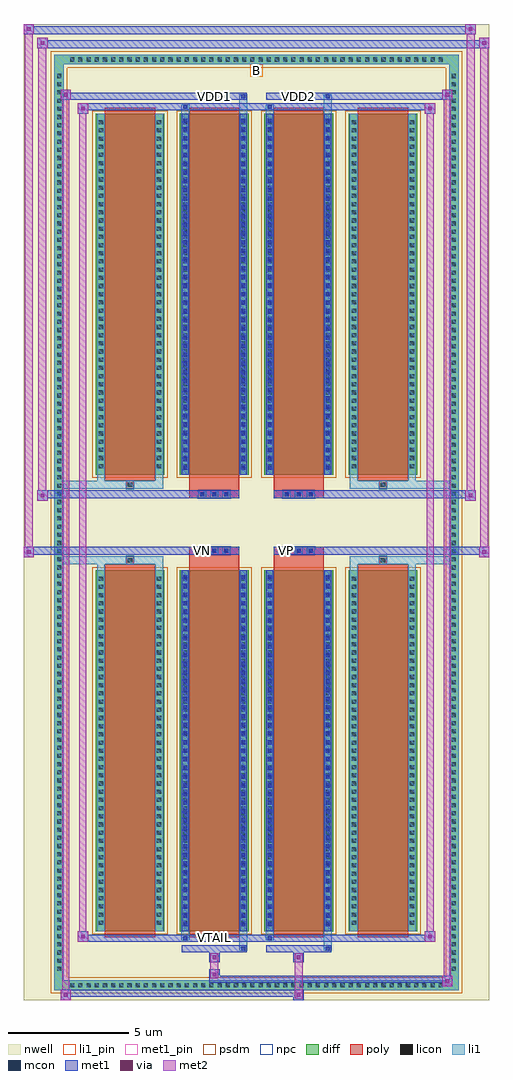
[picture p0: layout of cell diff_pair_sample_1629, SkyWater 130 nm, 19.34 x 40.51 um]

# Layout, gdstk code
import gdstk
lib = gdstk.Library(unit=1e-6, precision=5e-09)
def R(c, l, rs):  # rectangles x0, y0, x1, y1
    for r in rs: c.add(gdstk.rectangle(r[:2], r[2:], *l))
def A(c, l, x, y, w, h, nx, ny, dx, dy):  # array of equal rectangles
    R(c, l, [(x+i*dx, y+j*dy, x+i*dx+w, y+j*dy+h) for i in range(nx) for j in range(ny)])
def P(c, l, *ps):  # polygons
    for p in ps: c.add(gdstk.Polygon(p, *l))
nwell = (64, 20)
diff = (65, 20)
poly = (66, 20)
licon = (66, 44)
li1_pin = (67, 16)
li1 = (67, 20)
mcon = (67, 44)
met1_pin = (68, 16)
met1 = (68, 20)
via = (68, 44)
met2 = (69, 20)
psdm = (94, 20)
npc = (95, 20)

diff_pair_sample_1629 = lib.new_cell('diff_pair_sample_1629')
R(diff_pair_sample_1629, nwell, [(-9.67,-19.82,9.67,20.69), (-6.99,-18.01,-0.01,-0.805), (0.01,-18.01,6.99,-0.805), (-6.99,0.805,-0.01,18.01), (0.01,0.805,6.99,18.01)])
A(diff_pair_sample_1629, diff, -7.855, -19.42, 0.41, 0.41, 46, 2, 0.34, 38.43)
A(diff_pair_sample_1629, diff, -8.4, -18.735, 0.41, 0.41, 1, 110, 0, 0.34)
A(diff_pair_sample_1629, diff, 7.99, -18.735, 0.41, 0.41, 1, 110, 0, 0.34)
A(diff_pair_sample_1629, diff, -6.68, -16.965, 2.86, 14.98, 4, 2, 3.5, 18.95)
R(diff_pair_sample_1629, diff, [(-7.855,-19.42,7.855,-19.01), (-8.4,-18.735,-7.99,18.735), (7.99,-18.735,8.4,18.735), (-7.855,19.01,7.855,19.42)])
P(diff_pair_sample_1629, diff, [(8.4,19.42),(-8.4,19.42),(-8.4,-19.01),(-7.99,-19.01),(-7.99,19.01),(7.99,19.01),(7.99,-19.01),(-7.99,-19.01),(-8.4,-19.01),(-8.4,-19.42),(8.4,-19.42)])
A(diff_pair_sample_1629, poly, -6.29, -17.215, 2.08, 15.48, 4, 2, 3.5, 18.95)
A(diff_pair_sample_1629, poly, -2.415, -1.335, 0.33, 0.33, 3, 2, 0.5, 2.34)
A(diff_pair_sample_1629, poly, 1.085, -1.335, 0.33, 0.33, 3, 2, 0.5, 2.34)
R(diff_pair_sample_1629, poly, [(-5.415,-1.735,-5.085,-1.405), (-5.415,-1.735,-5.085,-1.405), (-2.79,-1.735,-0.71,-1.335), (0.71,-1.735,2.79,-1.335), (5.085,-1.735,5.415,-1.405), (5.085,-1.735,5.415,-1.405), (-2.79,-1.335,-0.71,-1.005), (0.71,-1.335,2.79,-1.005), (-2.79,1.005,-0.71,1.335), (0.71,1.005,2.79,1.335), (-2.79,1.335,-0.71,1.735), (0.71,1.335,2.79,1.735), (-5.415,1.405,-5.085,1.735), (-5.415,1.405,-5.085,1.735), (5.085,1.405,5.415,1.735), (5.085,1.405,5.415,1.735)])
A(diff_pair_sample_1629, licon, -7.735, -19.3, 0.17, 0.17, 46, 2, 0.34, 38.43)
A(diff_pair_sample_1629, licon, -8.28, -18.615, 0.17, 0.17, 1, 110, 0, 0.34)
A(diff_pair_sample_1629, licon, 8.11, -18.615, 0.17, 0.17, 1, 110, 0, 0.34)
A(diff_pair_sample_1629, licon, -6.54, -16.7, 0.17, 0.17, 1, 43, 0, 0.34)
A(diff_pair_sample_1629, licon, -4.13, -16.7, 0.17, 0.17, 1, 43, 0, 0.34)
A(diff_pair_sample_1629, licon, -3.04, -16.7, 0.17, 0.17, 1, 43, 0, 0.34)
A(diff_pair_sample_1629, licon, -0.63, -16.7, 0.17, 0.17, 1, 43, 0, 0.34)
A(diff_pair_sample_1629, licon, 0.46, -16.7, 0.17, 0.17, 1, 43, 0, 0.34)
A(diff_pair_sample_1629, licon, 2.87, -16.7, 0.17, 0.17, 1, 43, 0, 0.34)
A(diff_pair_sample_1629, licon, 3.96, -16.7, 0.17, 0.17, 1, 43, 0, 0.34)
A(diff_pair_sample_1629, licon, 6.37, -16.7, 0.17, 0.17, 1, 43, 0, 0.34)
A(diff_pair_sample_1629, licon, -2.335, -1.255, 0.17, 0.17, 3, 2, 0.5, 2.34)
A(diff_pair_sample_1629, licon, 1.165, -1.255, 0.17, 0.17, 3, 2, 0.5, 2.34)
A(diff_pair_sample_1629, licon, -6.54, 2.25, 0.17, 0.17, 1, 43, 0, 0.34)
A(diff_pair_sample_1629, licon, -4.13, 2.25, 0.17, 0.17, 1, 43, 0, 0.34)
A(diff_pair_sample_1629, licon, -3.04, 2.25, 0.17, 0.17, 1, 43, 0, 0.34)
A(diff_pair_sample_1629, licon, -0.63, 2.25, 0.17, 0.17, 1, 43, 0, 0.34)
A(diff_pair_sample_1629, licon, 0.46, 2.25, 0.17, 0.17, 1, 43, 0, 0.34)
A(diff_pair_sample_1629, licon, 2.87, 2.25, 0.17, 0.17, 1, 43, 0, 0.34)
A(diff_pair_sample_1629, licon, 3.96, 2.25, 0.17, 0.17, 1, 43, 0, 0.34)
A(diff_pair_sample_1629, licon, 6.37, 2.25, 0.17, 0.17, 1, 43, 0, 0.34)
R(diff_pair_sample_1629, licon, [(-5.335,-1.655,-5.165,-1.485), (5.165,-1.655,5.335,-1.485), (-5.335,1.485,-5.165,1.655), (5.165,1.485,5.335,1.655)])
R(diff_pair_sample_1629, li1_pin, [(-0.25,18.51,0.25,19.01)])
A(diff_pair_sample_1629, li1, -7.815, -19.38, 0.33, 0.33, 46, 2, 0.34, 38.43)
A(diff_pair_sample_1629, li1, -8.36, -18.695, 0.33, 0.33, 1, 110, 0, 0.34)
A(diff_pair_sample_1629, li1, 8.03, -18.695, 0.33, 0.33, 1, 110, 0, 0.34)
A(diff_pair_sample_1629, li1, -6.62, -16.78, 0.33, 0.33, 1, 43, 0, 0.34)
A(diff_pair_sample_1629, li1, -4.21, -16.78, 0.33, 0.33, 1, 43, 0, 0.34)
A(diff_pair_sample_1629, li1, -3.12, -16.78, 0.33, 0.33, 1, 43, 0, 0.34)
A(diff_pair_sample_1629, li1, -0.71, -16.78, 0.33, 0.33, 1, 43, 0, 0.34)
A(diff_pair_sample_1629, li1, 0.38, -16.78, 0.33, 0.33, 1, 43, 0, 0.34)
A(diff_pair_sample_1629, li1, 2.79, -16.78, 0.33, 0.33, 1, 43, 0, 0.34)
A(diff_pair_sample_1629, li1, 3.88, -16.78, 0.33, 0.33, 1, 43, 0, 0.34)
A(diff_pair_sample_1629, li1, 6.29, -16.78, 0.33, 0.33, 1, 43, 0, 0.34)
A(diff_pair_sample_1629, li1, -3.04, -16.76, 0.17, 0.17, 1, 41, 0, 0.36)
A(diff_pair_sample_1629, li1, -0.63, -16.76, 0.17, 0.17, 1, 41, 0, 0.36)
A(diff_pair_sample_1629, li1, 0.46, -16.76, 0.17, 0.17, 1, 41, 0, 0.36)
A(diff_pair_sample_1629, li1, 2.87, -16.76, 0.17, 0.17, 1, 41, 0, 0.36)
A(diff_pair_sample_1629, li1, -2.415, -1.335, 0.33, 0.33, 3, 2, 0.5, 2.34)
A(diff_pair_sample_1629, li1, 1.085, -1.335, 0.33, 0.33, 3, 2, 0.5, 2.34)
A(diff_pair_sample_1629, li1, -6.62, 2.17, 0.33, 0.33, 1, 43, 0, 0.34)
A(diff_pair_sample_1629, li1, -4.21, 2.17, 0.33, 0.33, 1, 43, 0, 0.34)
A(diff_pair_sample_1629, li1, -3.12, 2.17, 0.33, 0.33, 1, 43, 0, 0.34)
A(diff_pair_sample_1629, li1, -0.71, 2.17, 0.33, 0.33, 1, 43, 0, 0.34)
A(diff_pair_sample_1629, li1, 0.38, 2.17, 0.33, 0.33, 1, 43, 0, 0.34)
A(diff_pair_sample_1629, li1, 2.79, 2.17, 0.33, 0.33, 1, 43, 0, 0.34)
A(diff_pair_sample_1629, li1, 3.88, 2.17, 0.33, 0.33, 1, 43, 0, 0.34)
A(diff_pair_sample_1629, li1, 6.29, 2.17, 0.33, 0.33, 1, 43, 0, 0.34)
A(diff_pair_sample_1629, li1, -3.04, 2.19, 0.17, 0.17, 1, 41, 0, 0.36)
A(diff_pair_sample_1629, li1, -0.63, 2.19, 0.17, 0.17, 1, 41, 0, 0.36)
A(diff_pair_sample_1629, li1, 0.46, 2.19, 0.17, 0.17, 1, 41, 0, 0.36)
A(diff_pair_sample_1629, li1, 2.87, 2.19, 0.17, 0.17, 1, 41, 0, 0.36)
R(diff_pair_sample_1629, li1, [(-8.4,-19.42,-7.99,-19.01), (-8.4,-19.42,-7.99,-19.01), (-7.99,-19.42,7.99,-19.01), (7.99,-19.42,8.4,-19.01), (7.99,-19.42,8.4,-19.01), (-8.4,-19.01,-7.99,19.01), (7.99,-19.01,8.4,19.01), (-0.71,-17.77,-0.38,-16.965), (-0.63,-17.77,-0.46,-17.6), (2.79,-17.77,3.12,-16.965), (2.87,-17.77,3.04,-17.6), (-3.12,-17.34,-2.79,-16.965), (-3.04,-17.34,-2.87,-17.17), (0.38,-17.34,0.71,-16.965), (0.46,-17.34,0.63,-17.17), (-6.62,-16.965,-6.29,-1.985), (-4.21,-16.965,-3.88,-1.985), (-3.12,-16.965,-2.79,-1.985), (-0.71,-16.965,-0.38,-1.985), (0.38,-16.965,0.71,-1.985), (2.79,-16.965,3.12,-1.985), (3.88,-16.965,4.21,-1.985), (6.29,-16.965,6.62,-1.985), (-3.04,-16.76,-2.87,-2.19), (-0.63,-16.76,-0.46,-2.19), (0.46,-16.76,0.63,-2.19), (2.87,-16.76,3.04,-2.19), (-6.62,-1.985,-6.29,-1.405), (-4.21,-1.985,-3.88,-1.405), (3.88,-1.985,4.21,-1.405), (6.29,-1.985,6.62,-1.405), (-8.4,-1.735,-5.415,-1.405), (-6.62,-1.735,-5.415,-1.405), (-5.415,-1.735,-5.085,-1.405), (-5.085,-1.735,-3.88,-1.405), (3.88,-1.735,5.085,-1.405), (5.085,-1.735,5.415,-1.405), (5.085,-1.735,8.4,-1.405), (5.415,-1.735,6.62,-1.405), (-8.4,1.405,-5.415,1.735), (-6.62,1.405,-5.415,1.735), (-6.62,1.405,-6.29,1.985), (-5.415,1.405,-5.085,1.735), (-5.085,1.405,-3.88,1.735), (-4.21,1.405,-3.88,1.985), (3.88,1.405,5.085,1.735), (3.88,1.405,4.21,1.985), (5.085,1.405,5.415,1.735), (5.085,1.405,8.4,1.735), (5.415,1.405,6.62,1.735), (6.29,1.405,6.62,1.985), (-6.62,1.985,-6.29,16.965), (-4.21,1.985,-3.88,16.965), (-3.12,1.985,-2.79,16.965), (-0.71,1.985,-0.38,16.965), (0.38,1.985,0.71,16.965), (2.79,1.985,3.12,16.965), (3.88,1.985,4.21,16.965), (6.29,1.985,6.62,16.965), (-3.04,2.19,-2.87,16.76), (-0.63,2.19,-0.46,16.76), (0.46,2.19,0.63,16.76), (2.87,2.19,3.04,16.76), (-3.12,16.965,-2.79,17.34), (-0.71,16.965,-0.38,17.77), (0.38,16.965,0.71,17.34), (2.79,16.965,3.12,17.77), (-3.04,17.17,-2.87,17.34), (0.46,17.17,0.63,17.34), (-0.63,17.6,-0.46,17.77), (2.87,17.6,3.04,17.77), (-8.4,19.01,-7.99,19.42), (-8.4,19.01,-7.99,19.42), (-7.99,19.01,7.99,19.42), (7.99,19.01,8.4,19.42), (7.99,19.01,8.4,19.42)])
A(diff_pair_sample_1629, mcon, -3.04, -16.76, 0.17, 0.17, 1, 41, 0, 0.36)
A(diff_pair_sample_1629, mcon, -0.63, -16.76, 0.17, 0.17, 1, 41, 0, 0.36)
A(diff_pair_sample_1629, mcon, 0.46, -16.76, 0.17, 0.17, 1, 41, 0, 0.36)
A(diff_pair_sample_1629, mcon, 2.87, -16.76, 0.17, 0.17, 1, 41, 0, 0.36)
A(diff_pair_sample_1629, mcon, -2.335, -1.255, 0.17, 0.17, 3, 2, 0.5, 2.34)
A(diff_pair_sample_1629, mcon, 1.165, -1.255, 0.17, 0.17, 3, 2, 0.5, 2.34)
A(diff_pair_sample_1629, mcon, -3.04, 2.19, 0.17, 0.17, 1, 41, 0, 0.36)
A(diff_pair_sample_1629, mcon, -0.63, 2.19, 0.17, 0.17, 1, 41, 0, 0.36)
A(diff_pair_sample_1629, mcon, 0.46, 2.19, 0.17, 0.17, 1, 41, 0, 0.36)
A(diff_pair_sample_1629, mcon, 2.87, 2.19, 0.17, 0.17, 1, 41, 0, 0.36)
R(diff_pair_sample_1629, mcon, [(-0.63,-17.77,-0.46,-17.6), (2.87,-17.77,3.04,-17.6), (-3.04,-17.34,-2.87,-17.17), (0.46,-17.34,0.63,-17.17), (-3.04,17.17,-2.87,17.34), (0.46,17.17,0.63,17.34), (-0.63,17.6,-0.46,17.77), (2.87,17.6,3.04,17.77)])
R(diff_pair_sample_1629, met1_pin, [(-1.885,-17.38,-1.615,-17.11), (-2.385,-1.295,-2.115,-1.025), (1.115,-1.295,1.385,-1.025), (-1.885,17.56,-1.615,17.83), (1.615,17.56,1.885,17.83)])
A(diff_pair_sample_1629, met1, -3.1, -16.82, 0.29, 0.29, 1, 41, 0, 0.36)
A(diff_pair_sample_1629, met1, -0.69, -16.82, 0.29, 0.29, 1, 41, 0, 0.36)
A(diff_pair_sample_1629, met1, 0.4, -16.82, 0.29, 0.29, 1, 41, 0, 0.36)
A(diff_pair_sample_1629, met1, 2.81, -16.82, 0.29, 0.29, 1, 41, 0, 0.36)
A(diff_pair_sample_1629, met1, -2.395, -1.315, 0.29, 0.29, 3, 2, 0.5, 2.34)
A(diff_pair_sample_1629, met1, 1.105, -1.315, 0.29, 0.29, 3, 2, 0.5, 2.34)
A(diff_pair_sample_1629, met1, -3.1, 2.13, 0.29, 0.29, 1, 41, 0, 0.36)
A(diff_pair_sample_1629, met1, -0.69, 2.13, 0.29, 0.29, 1, 41, 0, 0.36)
A(diff_pair_sample_1629, met1, 0.4, 2.13, 0.29, 0.29, 1, 41, 0, 0.36)
A(diff_pair_sample_1629, met1, 2.81, 2.13, 0.29, 0.29, 1, 41, 0, 0.36)
R(diff_pair_sample_1629, met1, [(-8.13,-19.82,-7.7,-19.39), (1.535,-19.82,1.965,-19.39), (-8.13,-19.68,1.965,-19.39), (7.7,-19.25,8.13,-18.82), (-1.965,-19.11,8.13,-18.82), (-1.965,-18.97,-1.535,-18.54), (-1.965,-18.26,-1.535,-17.83), (1.535,-18.26,1.965,-17.83), (-3.1,-17.83,-0.4,-17.54), (-0.69,-17.83,-0.4,-17.54), (0.4,-17.83,3.1,-17.54), (2.81,-17.83,3.1,-17.54), (-7.42,-17.4,-6.99,-16.97), (-7.42,-17.4,-3.1,-17.11), (-3.1,-17.4,-2.81,-17.11), (-3.1,-17.4,-0.4,-17.11), (-0.4,-17.4,0.4,-17.11), (0.4,-17.4,0.69,-17.11), (0.4,-17.4,3.1,-17.11), (3.1,-17.4,7.42,-17.11), (6.99,-17.4,7.42,-16.97), (-3.1,-16.965,-2.81,-1.985), (-0.69,-16.965,-0.4,-1.985), (0.4,-16.965,0.69,-1.985), (2.81,-16.965,3.1,-1.985), (-9.67,-1.435,-9.24,-1.005), (9.24,-1.435,9.67,-1.005), (-9.67,-1.335,-0.71,-1.005), (-2.79,-1.335,-0.71,-1.005), (0.71,-1.335,2.79,-1.005), (0.71,-1.335,9.67,-1.005), (-9.1,0.905,-8.67,1.335), (8.67,0.905,9.1,1.335), (-9.1,1.005,-2.79,1.335), (-2.79,1.005,-0.71,1.335), (0.71,1.005,2.79,1.335), (2.79,1.005,9.1,1.335), (-3.1,1.985,-2.81,16.965), (-0.69,1.985,-0.4,16.965), (0.4,1.985,0.69,16.965), (2.81,1.985,3.1,16.965), (-7.42,16.97,-6.99,17.4), (6.99,16.97,7.42,17.4), (-7.42,17.11,-3.1,17.4), (-3.1,17.11,-2.81,17.4), (-3.1,17.11,-0.4,17.4), (-0.4,17.11,0.4,17.4), (0.4,17.11,0.69,17.4), (0.4,17.11,3.1,17.4), (3.1,17.11,7.42,17.4), (-8.13,17.54,-7.7,17.97), (-8.13,17.54,-3.1,17.83), (-3.1,17.54,-0.4,17.83), (-0.69,17.54,-0.4,17.83), (0.4,17.54,3.1,17.83), (2.81,17.54,3.1,17.83), (3.1,17.54,8.13,17.83), (7.7,17.54,8.13,17.97), (-9.1,19.69,-8.67,20.12), (-9.1,19.69,-6.99,20.02), (-6.99,19.69,6.99,20.02), (6.99,19.69,9.67,20.02), (9.24,19.69,9.67,20.12), (-9.67,20.26,-9.24,20.69), (-9.67,20.26,-6.99,20.59), (-6.99,20.26,6.99,20.59), (6.99,20.26,9.1,20.59), (8.67,20.26,9.1,20.69)])
R(diff_pair_sample_1629, via, [(-7.99,-19.68,-7.84,-19.53), (1.675,-19.68,1.825,-19.53), (7.84,-19.11,7.99,-18.96), (-1.825,-18.83,-1.675,-18.68), (-1.825,-18.12,-1.675,-17.97), (1.675,-18.12,1.825,-17.97), (-7.28,-17.26,-7.13,-17.11), (7.13,-17.26,7.28,-17.11), (-9.53,-1.295,-9.38,-1.145), (9.38,-1.295,9.53,-1.145), (-8.96,1.045,-8.81,1.195), (8.81,1.045,8.96,1.195), (-7.28,17.11,-7.13,17.26), (7.13,17.11,7.28,17.26), (-7.99,17.68,-7.84,17.83), (7.84,17.68,7.99,17.83), (-8.96,19.83,-8.81,19.98), (9.38,19.83,9.53,19.98), (-9.53,20.4,-9.38,20.55), (8.81,20.4,8.96,20.55)])
R(diff_pair_sample_1629, met2, [(-8.13,-19.82,-7.7,-19.39), (-8.06,-19.82,-7.77,17.97), (-7.77,-19.82,-7.7,-19.39), (-8.08,-19.77,-7.75,-19.44), (1.585,-19.77,1.915,-19.44), (1.585,-19.44,1.915,-18.21), (7.7,-19.25,8.13,-18.82), (7.77,-19.25,8.06,17.97), (8.06,-19.25,8.13,-18.82), (7.75,-19.2,8.08,-18.87), (-1.915,-18.92,-1.585,-18.59), (-1.915,-18.59,-1.585,-18.21), (-1.915,-18.21,-1.585,-17.88), (1.585,-18.21,1.915,-17.88), (-7.42,-17.4,-6.99,-16.97), (-7.35,-17.4,-7.06,17.4), (-7.06,-17.4,-6.99,-16.97), (6.99,-17.4,7.42,-16.97), (7.06,-17.4,7.35,17.4), (7.35,-17.4,7.42,-16.97), (-7.37,-17.35,-7.04,-17.02), (7.04,-17.35,7.37,-17.02), (-9.67,-1.435,-9.24,-1.005), (-9.62,-1.435,-9.29,20.69), (-9.29,-1.435,-9.24,-1.005), (9.24,-1.435,9.67,-1.005), (9.29,-1.435,9.62,20.12), (9.62,-1.435,9.67,-1.005), (-9.62,-1.385,-9.29,-1.055), (9.29,-1.385,9.62,-1.055), (-9.1,0.905,-8.67,1.335), (-9.05,0.905,-8.72,20.12), (-8.72,0.905,-8.67,1.335), (8.67,0.905,9.1,1.335), (8.72,0.905,9.05,20.69), (9.05,0.905,9.1,1.335), (-9.05,0.955,-8.72,1.285), (8.72,0.955,9.05,1.285), (-7.42,16.97,-6.99,17.4), (-7.06,16.97,-6.99,17.4), (6.99,16.97,7.42,17.4), (7.35,16.97,7.42,17.4), (-7.37,17.02,-7.04,17.35), (7.04,17.02,7.37,17.35), (-8.13,17.54,-7.7,17.97), (-7.77,17.54,-7.7,17.97), (7.7,17.54,8.13,17.97), (8.06,17.54,8.13,17.97), (-8.08,17.59,-7.75,17.92), (7.75,17.59,8.08,17.92), (-9.1,19.69,-8.67,20.12), (-8.72,19.69,-8.67,20.12), (9.24,19.69,9.67,20.12), (9.62,19.69,9.67,20.12), (-9.05,19.74,-8.72,20.07), (9.29,19.74,9.62,20.07), (-9.67,20.26,-9.24,20.69), (-9.29,20.26,-9.24,20.69), (8.67,20.26,9.1,20.69), (9.05,20.26,9.1,20.69), (-9.62,20.31,-9.29,20.64), (8.72,20.31,9.05,20.64)])
A(diff_pair_sample_1629, psdm, -6.81, -17.095, 3.12, 15.24, 4, 2, 3.5, 18.95)
P(diff_pair_sample_1629, psdm, [(8.53,19.55),(-8.53,19.55),(-8.53,-18.88),(-7.86,-18.88),(-7.86,18.88),(7.86,18.88),(7.86,-18.88),(-7.86,-18.88),(-8.53,-18.88),(-8.53,-19.55),(8.53,-19.55)])
A(diff_pair_sample_1629, npc, -2.435, -1.355, 0.37, 0.37, 3, 2, 0.5, 2.34)
A(diff_pair_sample_1629, npc, 1.065, -1.355, 0.37, 0.37, 3, 2, 0.5, 2.34)
R(diff_pair_sample_1629, npc, [(-5.435,-1.755,-5.065,-1.385), (5.065,-1.755,5.435,-1.385), (-2.435,-1.355,-1.565,-0.985), (-2.435,-1.355,-1.565,-0.985), (-1.935,-1.355,-1.065,-0.985), (-1.935,-1.355,-1.065,-0.985), (1.065,-1.355,1.935,-0.985), (1.065,-1.355,1.935,-0.985), (1.565,-1.355,2.435,-0.985), (1.565,-1.355,2.435,-0.985), (-2.435,0.985,-1.565,1.355), (-2.435,0.985,-1.565,1.355), (-1.935,0.985,-1.065,1.355), (-1.935,0.985,-1.065,1.355), (1.065,0.985,1.935,1.355), (1.065,0.985,1.935,1.355), (1.565,0.985,2.435,1.355), (1.565,0.985,2.435,1.355), (-5.435,1.385,-5.065,1.755), (5.065,1.385,5.435,1.755)])
diff_pair_sample_1629.add(gdstk.Label('VTAIL', (-1.75,-17.245), layer=68, texttype=5))
diff_pair_sample_1629.add(gdstk.Label('VN', (-2.25,-1.16), layer=68, texttype=5))
diff_pair_sample_1629.add(gdstk.Label('VP', (1.25,-1.16), layer=68, texttype=5))
diff_pair_sample_1629.add(gdstk.Label('B', (0,18.76), layer=67, texttype=5))
diff_pair_sample_1629.add(gdstk.Label('VDD2', (1.75,17.695), layer=68, texttype=5))
diff_pair_sample_1629.add(gdstk.Label('VDD1', (-1.75,17.695), layer=68, texttype=5))

lib.write_gds('diff_pair_sample_1629.gds')
